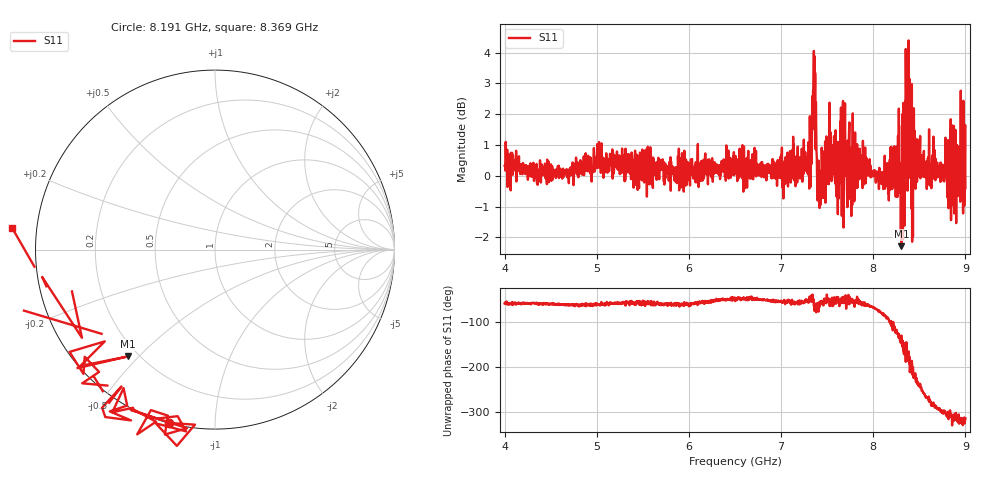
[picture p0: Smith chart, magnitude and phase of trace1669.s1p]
! Created with skrf 1.8.0 (http://scikit-rf.org).
# Hz S RI R 50.0
!freq ReS11 ImS11
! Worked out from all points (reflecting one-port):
!   1601 points, 4 GHz to 9 GHz, reference 50 ohm
!   lowest |S11| = -2.3 dB at 8.306 GHz (marker M1), VSWR 7.64, Z = 7.99 - j23.2 ohm
!   phase of S11 starts at -57 deg and turns -258 deg over the sweep
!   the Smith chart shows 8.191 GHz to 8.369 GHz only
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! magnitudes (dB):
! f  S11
! 4 GHz  0.3
! 4.625 GHz  -0.1
! 5.25 GHz  0.1
! 5.875 GHz  -0.2
! 6.5 GHz  0.1
! 7.125 GHz  0.8
! 7.306 GHz  -0.4
! 7.347 GHz  2.8
! 7.359 GHz  2.4
! 7.412 GHz  -0.4
! 7.512 GHz  0.7
! 7.609 GHz  0.1
! 7.669 GHz  2.0
! 7.75 GHz  -0.7
! 7.938 GHz  0.4
! 8.094 GHz  -0.2
! 8.253 GHz  0.5
! 8.306 GHz  -2.3
! 8.316 GHz  0.2
! 8.334 GHz  -0.2
! 8.375 GHz  1.6
! 8.412 GHz  0.8
! 8.447 GHz  1.5
! 8.459 GHz  -0.4
! 8.562 GHz  0.0
! 8.841 GHz  1.8
! 8.953 GHz  -0.5
! 9 GHz  -0.4
